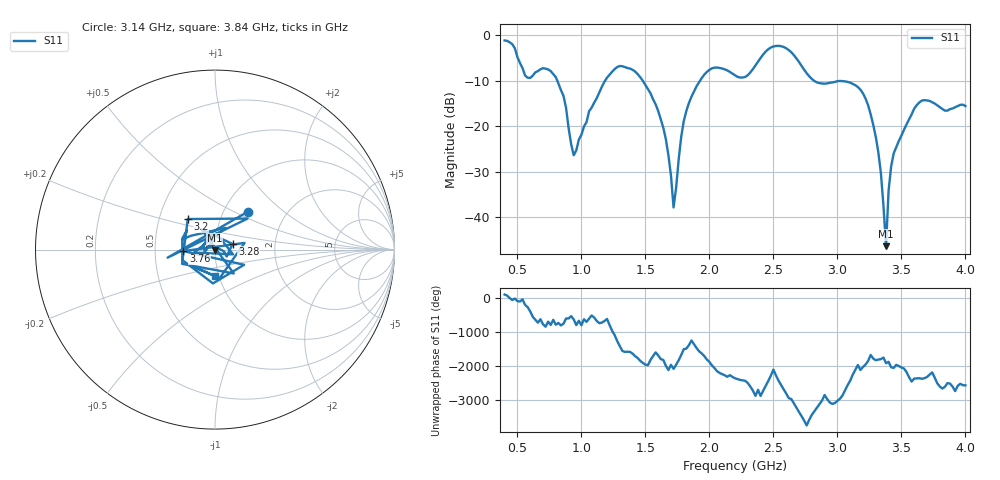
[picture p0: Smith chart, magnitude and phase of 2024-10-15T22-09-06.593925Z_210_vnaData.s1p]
! Created with skrf (http://scikit-rf.org).
# Hz S RI R 50.0
!freq ReS11 ImS11
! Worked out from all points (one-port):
!   181 points, 400 MHz to 4 GHz, reference 50 ohm
!   lowest |S11| = -46.4 dB at 3.38 GHz (marker M1), VSWR 1.01, Z = 49.8 - j0.418 ohm
!   |S11| at or under -10 dB: 810.9 MHz to 1.186 GHz (374.9 MHz wide, 37.6 % of centre); 1.478 GHz to 1.928 GHz (449.2 MHz wide, 26.4 % of centre); 2.816 GHz to end of sweep
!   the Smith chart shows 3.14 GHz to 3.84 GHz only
!   S11 on the Smith chart (normalised r, x): 3.14 GHz: 1.30, +0.60; 3.2 GHz: 0.70, +0.25; 3.28 GHz: 1.21, +0.08; 3.76 GHz: 0.70, -0.01; 3.84 GHz: 0.96, -0.29
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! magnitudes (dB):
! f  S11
! 400 MHz  -1.2
! 560 MHz  -8.9
! 740 MHz  -7.6
! 860 MHz  -13.4
! 940 MHz  -26.4
! 1.3 GHz  -6.8
! 1.58 GHz  -15.2
! 1.66 GHz  -22.9
! 1.72 GHz  -37.9
! 1.76 GHz  -27.3
! 1.82 GHz  -16.7
! 1.94 GHz  -9.4
! 2.2 GHz  -8.8
! 2.5 GHz  -2.5
! 2.66 GHz  -4.4
! 2.84 GHz  -10.4
! 3.1 GHz  -10.5
! 3.14 GHz  -11.0
! 3.2 GHz  -12.8
! 3.28 GHz  -19.8
! 3.34 GHz  -30.4
! 3.38 GHz  -46.4
! 3.4 GHz  -34.2
! 3.42 GHz  -28.9
! 3.56 GHz  -18.5
! 3.76 GHz  -15.1
! 3.84 GHz  -16.6
! 4 GHz  -15.6
